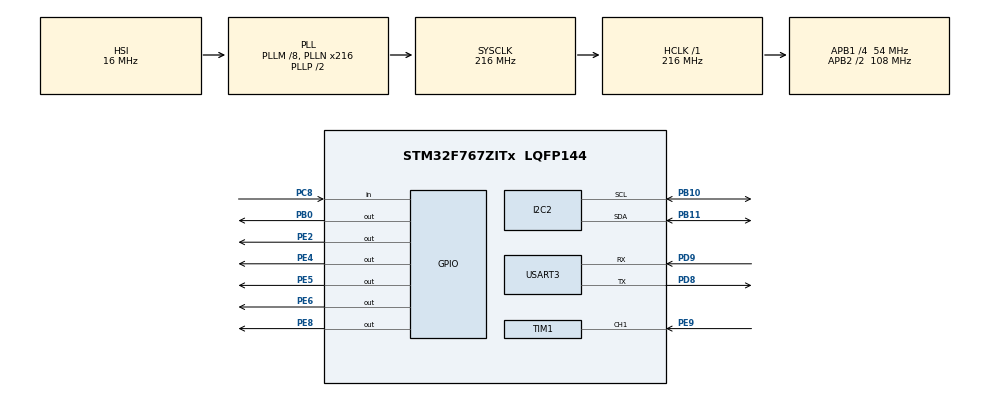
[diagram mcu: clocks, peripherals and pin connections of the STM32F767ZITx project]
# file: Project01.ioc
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I2C2.Timing=0x20404768
Mcu.Family=STM32F7
Mcu.Name=STM32F767ZITx
Mcu.Package=LQFP144
NVIC.PriorityGroup=NVIC_PRIORITYGROUP_4
NVIC.TIM1_CC_IRQn=true\:0\:0\:false\:false\:true\:true\:true\:true
PA13.Mode=Serial_Wire
PA13.Signal=SYS_JTMS-SWDIO
PA14.Mode=Serial_Wire
PA14.Signal=SYS_JTCK-SWCLK
PB0.Signal=GPIO_Output
PB10.Mode=I2C
PB10.Signal=I2C2_SCL
PB11.Mode=I2C
PB11.Signal=I2C2_SDA
PC8.Signal=GPIO_Input
PD8.Mode=Asynchronous
PD8.Signal=USART3_TX
PD9.Mode=Asynchronous
PD9.Signal=USART3_RX
PE2.Signal=GPIO_Output
PE4.Signal=GPIO_Output
PE5.Signal=GPIO_Output
PE6.Signal=GPIO_Output
PE8.Signal=GPIO_Output
PE9.Signal=S_TIM1_CH1
PH0/OSC_IN.Mode=HSE-External-Oscillator
PH0/OSC_IN.Signal=RCC_OSC_IN
PH1/OSC_OUT.Mode=HSE-External-Oscillator
PH1/OSC_OUT.Signal=RCC_OSC_OUT
ProjectManager.HeapSize=0x200
ProjectManager.StackSize=0x400
ProjectManager.TargetToolchain=STM32CubeIDE
RCC.AHBFreq_Value=216000000
RCC.APB1CLKDivider=RCC_HCLK_DIV4
RCC.APB1Freq_Value=54000000
RCC.APB1TimFreq_Value=108000000
RCC.APB2CLKDivider=RCC_HCLK_DIV2
RCC.APB2Freq_Value=108000000
RCC.APB2TimFreq_Value=216000000
RCC.CortexFreq_Value=216000000
RCC.HCLKFreq_Value=216000000
RCC.HSE_VALUE=25000000
RCC.HSI_VALUE=16000000
RCC.LSE_VALUE=32768
RCC.PLLM=8
RCC.PLLN=216
RCC.SYSCLKFreq_VALUE=216000000
RCC.SYSCLKSource=RCC_SYSCLKSOURCE_PLLCLK
RCC.USBFreq_Value=216000000
RCC.VCOOutputFreq_Value=432000000
SH.S_TIM1_CH1.0=TIM1_CH1,Input_Capture1_from_TI1
TIM1.Channel-Input_Capture1_from_TI1=TIM_CHANNEL_1
TIM1.Period=0xffff-1
TIM1.Prescaler=216-1
TIM2.Period=0xffff-1
TIM2.Prescaler=216-1
USART3.VirtualMode-Asynchronous=VM_ASYNC
VP_TIM2_VS_ClockSourceINT.Mode=Internal
board=custom

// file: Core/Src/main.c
/* USER CODE BEGIN Header */
/**
  ******************************************************************************
  * @file           : main.c
  * @brief          : Main program body
  ******************************************************************************
  * @attention
  *
  * Copyright (c) 2024 STMicroelectronics.
  * All rights reserved.
  *
  * This software is licensed under terms that can be found in the LICENSE file
  * in the root directory of this software component.
  * If no LICENSE file comes with this software, it is provided AS-IS.
  *
  ******************************************************************************
  */
/* USER CODE END Header */
#include "main.h"
#include "i2c.h"
#include "tim.h"
#include "usart.h"
#include "gpio.h"

/* USER CODE BEGIN Includes */
#include "strings.h"
#include "i2c-lcd.h"
/* USER CODE END Includes */

/* USER CODE BEGIN PD */
#define stepsperrev 4096
/* USER CODE END PD */

/* USER CODE BEGIN PV */
uint32_t startTime = 0;
uint32_t holdTime = 0;
uint8_t pirState = 0;
uint32_t currentTime = 0;
uint32_t waitTime = 0;
uint32_t tempTime = 0;
uint8_t count = 0;
/* USER CODE END PV */

void SystemClock_Config(void);

/* USER CODE BEGIN 0 */
//Ultra Sonic Sensor
void delay(uint16_t time){
	__HAL_TIM_SET_COUNTER(&htim1, 0);
	while(__HAL_TIM_GET_COUNTER(&htim1)<time);
}

uint32_t IC_Val1 = 0;
uint32_t IC_Val2 = 0;
uint32_t Difference = 0;
uint8_t Is_First_Captured = 0;  // is the first value captured ?
uint8_t Distance  = 0;

#define TRIG_PIN GPIO_PIN_8
#define TRIG_PORT GPIOE

// Let's write the callback function

void HAL_TIM_IC_CaptureCallback(TIM_HandleTypeDef *htim)
{
	if (htim->Channel == HAL_TIM_ACTIVE_CHANNEL_1)  // if the interrupt source is channel1
	{
		if (Is_First_Captured==0) // if the first value is not captured
		{
			IC_Val1 = HAL_TIM_ReadCapturedValue(htim, TIM_CHANNEL_1); // read the first value
			Is_First_Captured = 1;  // set the first captured as true
			// Now change the polarity to falling edge
			__HAL_TIM_SET_CAPTUREPOLARITY(htim, TIM_CHANNEL_1, TIM_INPUTCHANNELPOLARITY_FALLING);
		}

		else if (Is_First_Captured==1)   // if the first is already captured
		{
			IC_Val2 = HAL_TIM_ReadCapturedValue(htim, TIM_CHANNEL_1);  // read second value
			__HAL_TIM_SET_COUNTER(htim, 0);  // reset the counter

			if (IC_Val2 > IC_Val1)
			{
				Difference = IC_Val2-IC_Val1;
			}

			else if (IC_Val1 > IC_Val2)
			{
				Difference = (0xffff - IC_Val1) + IC_Val2;
			}

			Distance = Difference * .034/2;
			Is_First_Captured = 0; // set it back to false

			// set polarity to rising edge
			__HAL_TIM_SET_CAPTUREPOLARITY(htim, TIM_CHANNEL_1, TIM_INPUTCHANNELPOLARITY_RISING);
			__HAL_TIM_DISABLE_IT(&htim1, TIM_IT_CC1);
		}
	}
}

void HCSR04_Read (void)
{
	HAL_GPIO_WritePin(TRIG_PORT, TRIG_PIN, GPIO_PIN_SET);  // pull the TRIG pin HIGH
	delay(10);  // wait for 10 us
	HAL_GPIO_WritePin(TRIG_PORT, TRIG_PIN, GPIO_PIN_RESET);  // pull the TRIG pin low
	__HAL_TIM_ENABLE_IT(&htim1, TIM_IT_CC1);
}

//stepper motor
void stepper_delay (uint16_t us)
{
  __HAL_TIM_SET_COUNTER(&htim2, 0);
  while (__HAL_TIM_GET_COUNTER(&htim2) < us);
}

void stepper_set_rpm (int rpm)  // Set rpm--> max 13, min 1,,,  went to 14 rev/min
{
	delay(60000000/stepsperrev/rpm);
}

void stepper_half_drive (int step)
{
	switch (step){
	         case 0:
			  HAL_GPIO_WritePin(GPIOE, GPIO_PIN_2, GPIO_PIN_SET);   // IN1
			  HAL_GPIO_WritePin(GPIOE, GPIO_PIN_4, GPIO_PIN_RESET);   // IN2
			  HAL_GPIO_WritePin(GPIOE, GPIO_PIN_5, GPIO_PIN_RESET);   // IN3
			  HAL_GPIO_WritePin(GPIOE, GPIO_PIN_6, GPIO_PIN_RESET);   // IN4
			  break;

		  case 1:
			  HAL_GPIO_WritePin(GPIOE, GPIO_PIN_2, GPIO_PIN_SET);   // IN1
			  HAL_GPIO_WritePin(GPIOE, GPIO_PIN_4, GPIO_PIN_SET);   // IN2
			  HAL_GPIO_WritePin(GPIOE, GPIO_PIN_5, GPIO_PIN_RESET);   // IN3
			  HAL_GPIO_WritePin(GPIOE, GPIO_PIN_6, GPIO_PIN_RESET);   // IN4
			  break;

	          case 2:
			  HAL_GPIO_WritePin(GPIOE, GPIO_PIN_2, GPIO_PIN_RESET);   // IN1
			  HAL_GPIO_WritePin(GPIOE, GPIO_PIN_4, GPIO_PIN_SET);   // IN2
			  HAL_GPIO_WritePin(GPIOE, GPIO_PIN_5, GPIO_PIN_RESET);   // IN3
			  HAL_GPIO_WritePin(GPIOE, GPIO_PIN_6, GPIO_PIN_RESET);   // IN4
			  break;

		  case 3:
			  HAL_GPIO_WritePin(GPIOE, GPIO_PIN_2, GPIO_PIN_RESET);   // IN1
			  HAL_GPIO_WritePin(GPIOE, GPIO_PIN_4, GPIO_PIN_SET);   // IN2
			  HAL_GPIO_WritePin(GPIOE, GPIO_PIN_5, GPIO_PIN_SET);   // IN3
			  HAL_GPIO_WritePin(GPIOE, GPIO_PIN_6, GPIO_PIN_RESET);   // IN4
			  break;

		  case 4:
			  HAL_GPIO_WritePin(GPIOE, GPIO_PIN_2, GPIO_PIN_RESET);   // IN1
			  HAL_GPIO_WritePin(GPIOE, GPIO_PIN_4, GPIO_PIN_RESET);   // IN2
			  HAL_GPIO_WritePin(GPIOE, GPIO_PIN_5, GPIO_PIN_SET);   // IN3
			  HAL_GPIO_WritePin(GPIOE, GPIO_PIN_6, GPIO_PIN_RESET);   // IN4
			  break;

		  case 5:
			  HAL_GPIO_WritePin(GPIOE, GPIO_PIN_2, GPIO_PIN_RESET);   // IN1
			  HAL_GPIO_WritePin(GPIOE, GPIO_PIN_4, GPIO_PIN_RESET);   // IN2
			  HAL_GPIO_WritePin(GPIOE, GPIO_PIN_5, GPIO_PIN_SET);   // IN3
			  HAL_GPIO_WritePin(GPIOE, GPIO_PIN_6, GPIO_PIN_SET);   // IN4
			  break;

		  case 6:
			  HAL_GPIO_WritePin(GPIOE, GPIO_PIN_2, GPIO_PIN_RESET);   // IN1
			  HAL_GPIO_WritePin(GPIOE, GPIO_PIN_4, GPIO_PIN_RESET);   // IN2
			  HAL_GPIO_WritePin(GPIOE, GPIO_PIN_5, GPIO_PIN_RESET);   // IN3
			  HAL_GPIO_WritePin(GPIOE, GPIO_PIN_6, GPIO_PIN_SET);   // IN4
			  break;

		  case 7:
			  HAL_GPIO_WritePin(GPIOE, GPIO_PIN_2, GPIO_PIN_SET);   // IN1
			  HAL_GPIO_WritePin(GPIOE, GPIO_PIN_4, GPIO_PIN_RESET);   // IN2
			  HAL_GPIO_WritePin(GPIOE, GPIO_PIN_5, GPIO_PIN_RESET);   // IN3
			  HAL_GPIO_WritePin(GPIOE, GPIO_PIN_6, GPIO_PIN_SET);   // IN4
			  break;
		}

}
/* USER CODE END 0 */

int main(void)
{

  /* MCU Configuration--------------------------------------------------------*/

  /* Reset of all peripherals, Initializes the Flash interface and the Systick. */
  HAL_Init();

  /* Configure the system clock */
  SystemClock_Config();

  /* Initialize all configured peripherals */
  MX_GPIO_Init();
  MX_TIM1_Init();
  MX_USART3_UART_Init();
  MX_TIM2_Init();
  MX_I2C2_Init();
  /* USER CODE BEGIN 2 */
  HAL_TIM_IC_Start_IT(&htim1, TIM_CHANNEL_1);
  HAL_TIM_Base_Start(&htim2);
  lcd_init();
  lcd_put_cur(0,0);
  lcd_send_string("Hi Pet Lover!");
  HAL_Delay(1000);
  lcd_clear();
  lcd_put_cur(0,0);
  lcd_send_string("Start Detecting");
  HAL_Delay(1000);
  //lcd_send_string("Hello World");
  //HAL_Delay(1000);
  lcd_clear();
 // lcd_put_cur(1, 0);
  //lcd_send_string("From O2");
  /* USER CODE END 2 */

  /* Infinite loop */
  while (1)
  {

    /* USER CODE BEGIN 3 */
	  HCSR04_Read();
	  char msg[10];
	  sprintf(msg, "%d\r\n", Distance);
	  HAL_UART_Transmit(&huart3, (uint8_t*) msg, strlen(msg), HAL_MAX_DELAY);
	  HAL_Delay(500);

	  if (Distance < 5) {
		  uint8_t currentState = HAL_GPIO_ReadPin(GPIOC, GPIO_PIN_8);

		  if (currentState && !pirState) {
			// Motion detected, start the timer
				startTime = HAL_GetTick();
				pirState = 1;
				HAL_GPIO_WritePin(GPIOB, GPIO_PIN_0, GPIO_PIN_SET); // Turn on LED

		  }
		  else if (!currentState && pirState) {
				// Motion ended, calculate hold time
				holdTime = HAL_GetTick() - startTime;
				pirState = 0;
				HAL_GPIO_WritePin(GPIOB, GPIO_PIN_0, GPIO_PIN_RESET); // Turn off LED
				lcd_put_cur(0,0);
				lcd_send_string("Motion Detected");
				HAL_Delay(500);
				lcd_clear();

				// Print hold time to UART
				char msg[50];
				sprintf(msg, "Hold Time: %.2f seconds\r\n", holdTime / 1000.0);
				HAL_UART_Transmit(&huart3, (uint8_t*)msg, strlen(msg), HAL_MAX_DELAY);
				//Get Current Time
				currentTime = HAL_GetTick();
				//Get Waiting Time for count
				waitTime = currentTime - tempTime;
				char currentMsg[50];
				sprintf(currentMsg, "Current Time: %.2f seconds\r\n", currentTime / 1000.0);
				HAL_UART_Transmit(&huart3, (uint8_t*)currentMsg, strlen(currentMsg), HAL_MAX_DELAY);
				char waitMsg[50];
				sprintf(waitMsg, "Wait Time: %.2f seconds\r\n", waitTime / 1000.0);
				HAL_UART_Transmit(&huart3, (uint8_t*)waitMsg, strlen(waitMsg), HAL_MAX_DELAY);
				tempTime = currentTime;
				// Check if the dog is near
			if (waitTime/1000.0 < 10){
				count += 1;
				lcd_put_cur(0,0);
				lcd_send_string("Motion Detected");
				HAL_Delay(500);
				lcd_clear();
			}
			// If the dog passes the machine, reset count
			else if(waitTime/1000.0 > 10){
				lcd_put_cur(0,0);
				lcd_send_string("No Motion");
				HAL_Delay(500);
				lcd_clear();
				count = 0;
			}
			// if the dog waits for 1.22sec(hold time) * count(3) dispense food
			if (count == 3){
				count = 0;
				HAL_UART_Transmit(&huart3, (uint8_t*)"Dispense Food", 13, HAL_MAX_DELAY);
				lcd_put_cur(0,0);
				lcd_send_string("Dispensing Food");
				//5V stepper motor
				  for (int step = 0; step < stepsperrev; step++) {
					          stepper_half_drive(step % 8);
					          stepper_set_rpm(13);  // Set the desired RPM
					      }
				  lcd_clear();
			}
		  }
	  }
	  else {
	      // No motion detected or distance >= 10
	      HAL_UART_Transmit(&huart3, (uint8_t*) "No Food\r\n", 9, HAL_MAX_DELAY);
	      lcd_put_cur(0,0);
	      lcd_send_string("No Food");
	      HAL_Delay(500);
	      lcd_clear();
	  }
  }
  /* USER CODE END 3 */
}

void SystemClock_Config(void)
{
  RCC_OscInitTypeDef RCC_OscInitStruct = {0};
  RCC_ClkInitTypeDef RCC_ClkInitStruct = {0};

  /** Configure the main internal regulator output voltage
  */
  __HAL_RCC_PWR_CLK_ENABLE();
  __HAL_PWR_VOLTAGESCALING_CONFIG(PWR_REGULATOR_VOLTAGE_SCALE1);

  /** Initializes the RCC Oscillators according to the specified parameters
  * in the RCC_OscInitTypeDef structure.
  */
  RCC_OscInitStruct.OscillatorType = RCC_OSCILLATORTYPE_HSI;
  RCC_OscInitStruct.HSIState = RCC_HSI_ON;
  RCC_OscInitStruct.HSICalibrationValue = RCC_HSICALIBRATION_DEFAULT;
  RCC_OscInitStruct.PLL.PLLState = RCC_PLL_ON;
  RCC_OscInitStruct.PLL.PLLSource = RCC_PLLSOURCE_HSI;
  RCC_OscInitStruct.PLL.PLLM = 8;
  RCC_OscInitStruct.PLL.PLLN = 216;
  RCC_OscInitStruct.PLL.PLLP = RCC_PLLP_DIV2;
  RCC_OscInitStruct.PLL.PLLQ = 2;
  RCC_OscInitStruct.PLL.PLLR = 2;
  if (HAL_RCC_OscConfig(&RCC_OscInitStruct) != HAL_OK)
  {
    Error_Handler();
  }

  /** Activate the Over-Drive mode
  */
  if (HAL_PWREx_EnableOverDrive() != HAL_OK)
  {
    Error_Handler();
  }

  /** Initializes the CPU, AHB and APB buses clocks
  */
  RCC_ClkInitStruct.ClockType = RCC_CLOCKTYPE_HCLK|RCC_CLOCKTYPE_SYSCLK
                              |RCC_CLOCKTYPE_PCLK1|RCC_CLOCKTYPE_PCLK2;
  RCC_ClkInitStruct.SYSCLKSource = RCC_SYSCLKSOURCE_PLLCLK;
  RCC_ClkInitStruct.AHBCLKDivider = RCC_SYSCLK_DIV1;
  RCC_ClkInitStruct.APB1CLKDivider = RCC_HCLK_DIV4;
  RCC_ClkInitStruct.APB2CLKDivider = RCC_HCLK_DIV2;

  if (HAL_RCC_ClockConfig(&RCC_ClkInitStruct, FLASH_LATENCY_7) != HAL_OK)
  {
    Error_Handler();
  }
}

void Error_Handler(void)
{
  __disable_irq();
  while (1)
  {
  }
}
